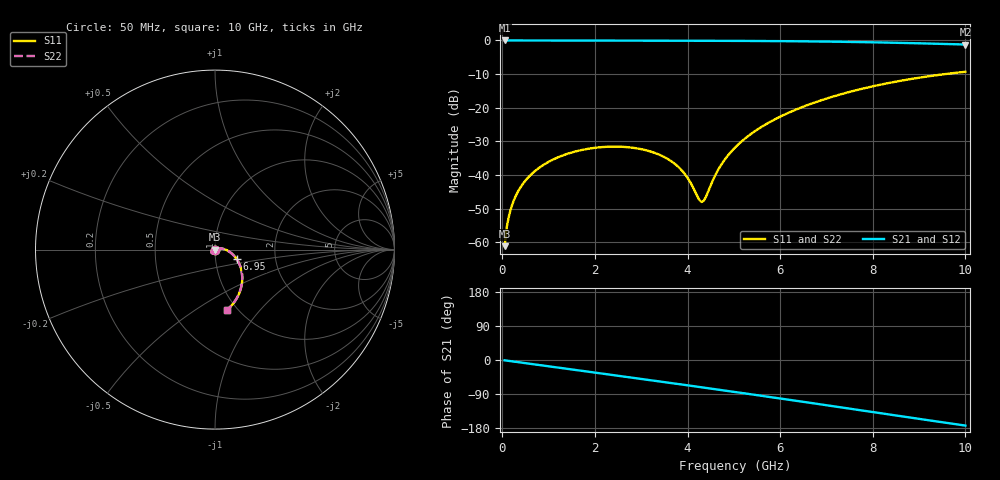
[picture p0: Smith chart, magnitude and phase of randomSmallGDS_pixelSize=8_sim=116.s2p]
! freq	dB(S11)	phase(S11)	dB(S12)	phase(S12)
!  dB(S21)	phase(S21)	dB(S22)	phase(S22)
!S-par simulation data
#  GHz  S  DB  R 50
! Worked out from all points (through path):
!   200 points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, 50 MHz to 10 GHz, reference 50 ohm
!   highest |S21| = 0.00 dB at 50 MHz (marker M1); lowest = -1.2 dB at 10 GHz (marker M2)
!   group delay of S21, straight-line fit = 48.2 ps
!   lowest |S11| = -61.1 dB at 50 MHz (marker M3), VSWR 1.00, Z = 50 - j0.0879 ohm
!   |S11| at or under -10 dB: start of sweep to 9.556 GHz
!   |S22| runs from -61.1 to -9.3 dB; largest |S21 - S12| = 0
!   S11 on the Smith chart (normalised r, x): 50 MHz: 1.00, -0.00; 6.95 GHz: 1.27, -0.14; 10 GHz: 0.90, -0.68
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0.05  -61.12 -90.4  -0.00 -0.8  -0.00 -0.8  -61.10 -90.5
0.1  -55.20 -92.5  -0.00 -1.7  -0.00 -1.7  -55.19 -92.6
0.2  -49.34 -94.7  -0.00 -3.4  -0.00 -3.4  -49.34 -94.7
0.35  -44.62 -97.2  -0.00 -5.9  -0.00 -5.9  -44.63 -97.2
0.5  -41.63 -99.7  -0.01 -8.4  -0.01 -8.4  -41.63 -99.7
1  -36.06 -108.3  -0.02 -16.7  -0.02 -16.7  -36.06 -108.3
1.75  -32.45 -121.7  -0.03 -29.1  -0.03 -29.1  -32.45 -121.6
2.65  -31.64 -138.3  -0.05 -44.1  -0.05 -44.1  -31.65 -138.2
3.4  -34.00 -154.5  -0.07 -56.7  -0.07 -56.7  -34.00 -154.2
3.7  -36.39 -163.4  -0.07 -61.7  -0.07 -61.7  -36.40 -163.0
3.9  -38.98 -172.3  -0.08 -65.1  -0.08 -65.1  -39.01 -171.7
4.3  -47.98 115.2  -0.09 -71.9  -0.09 -71.9  -48.31 115.5
4.4  -46.38 75.5  -0.10 -73.7  -0.10 -73.7  -46.64 74.5
4.55  -41.44 44.4  -0.10 -76.2  -0.10 -76.2  -41.53 43.4
4.7  -37.52 31.2  -0.11 -78.8  -0.11 -78.8  -37.57 30.5
5.05  -31.49 16.4  -0.13 -84.9  -0.13 -84.9  -31.50 15.9
5.75  -24.44 -0.7  -0.18 -97.1  -0.18 -97.1  -24.45 -0.9
6.7  -18.65 -19.4  -0.29 -114.0  -0.29 -114.0  -18.65 -19.6
6.95  -17.48 -24.1  -0.33 -118.4  -0.33 -118.4  -17.49 -24.2
8.35  -12.63 -49.7  -0.64 -143.7  -0.64 -143.7  -12.63 -49.9
9.15  -10.75 -64.0  -0.89 -158.0  -0.89 -158.0  -10.76 -64.1
10  -9.31 -78.7  -1.20 -173.1  -1.20 -173.1  -9.31 -78.8
